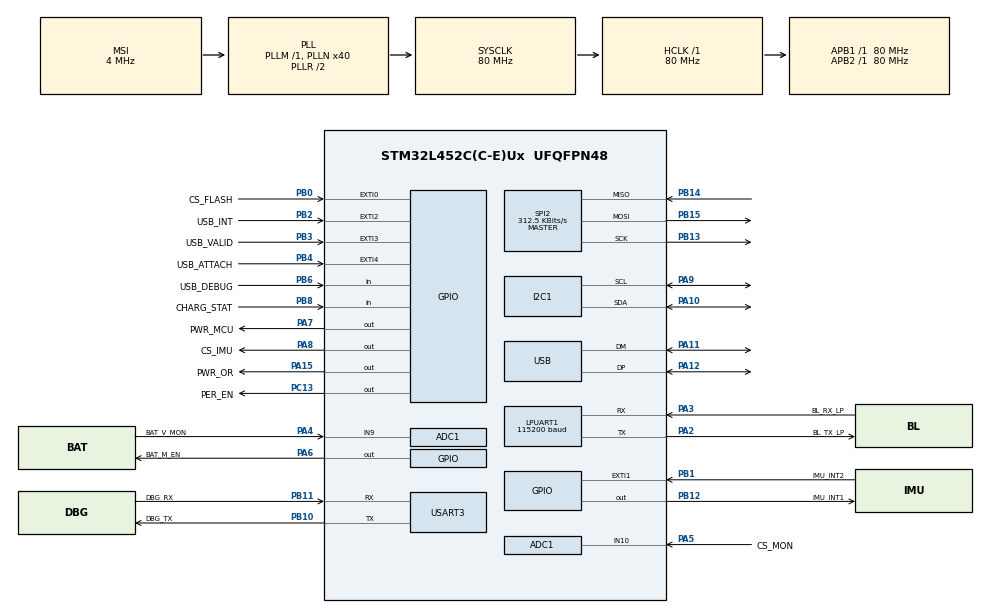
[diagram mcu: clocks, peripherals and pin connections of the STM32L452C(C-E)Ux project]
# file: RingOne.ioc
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ADC1.Channel-0\#ChannelRegularConversion=ADC_CHANNEL_10
ADC1.NbrOfConversionFlag=1
ADC1.OffsetNumber-0\#ChannelRegularConversion=ADC_OFFSET_NONE
ADC1.Rank-0\#ChannelRegularConversion=1
ADC1.SamplingTime-0\#ChannelRegularConversion=ADC_SAMPLETIME_2CYCLES_5
ADC1.master=1
I2C1.Timing=0x10909CEC
IWDG.Prescaler=IWDG_PRESCALER_256
LPUART1.BaudRate=115200
LPUART1.WordLength=UART_WORDLENGTH_8B
Mcu.Family=STM32L4
Mcu.Name=STM32L452C(C-E)Ux
Mcu.Package=UFQFPN48
NVIC.LPUART1_IRQn=true\:0\:0\:false\:false\:true\:true\:true
NVIC.PriorityGroup=NVIC_PRIORITYGROUP_4
NVIC.TIM2_IRQn=true\:0\:0\:false\:false\:true\:true\:true
NVIC.USB_IRQn=true\:0\:0\:false\:false\:true\:false\:true
PA0.GPIO_Label=PWR_BTN
PA0.Mode=SYS_WakeUp0
PA0.Signal=SYS_WKUP1
PA10.Mode=I2C
PA10.Signal=I2C1_SDA
PA11.Mode=Device
PA11.Signal=USB_DM
PA12.Mode=Device
PA12.Signal=USB_DP
PA13\ (JTMS/SWDIO).GPIO_Label=SWDIO
PA13\ (JTMS/SWDIO).Mode=Serial_Wire
PA13\ (JTMS/SWDIO).Signal=SYS_JTMS-SWDIO
PA14\ (JTCK/SWCLK).GPIO_Label=SWCLK
PA14\ (JTCK/SWCLK).Mode=Serial_Wire
PA14\ (JTCK/SWCLK).Signal=SYS_JTCK-SWCLK
PA15\ (JTDI).GPIO_Label=PWR_OR
PA15\ (JTDI).Signal=GPIO_Output
PA2.GPIO_Label=BL_TX_LP
PA2.Mode=Asynchronous
PA2.Signal=LPUART1_TX
PA3.GPIO_Label=BL_RX_LP
PA3.Mode=Asynchronous
PA3.Signal=LPUART1_RX
PA4.GPIO_Label=BAT_V_MON
PA4.Signal=ADCx_IN9
PA5.GPIO_Label=CS_MON
PA5.Signal=ADCx_IN10
PA6.GPIO_Label=BAT_M_EN
PA6.Signal=GPIO_Output
PA7.GPIO_Label=PWR_MCU
PA7.Signal=GPIO_Output
PA8.GPIO_Label=CS_IMU
PA8.Signal=GPIO_Output
PA9.Mode=I2C
PA9.Signal=I2C1_SCL
PB0.GPIO_Label=CS_FLASH
PB0.Signal=GPXTI0
PB1.GPIO_Label=IMU_INT2
PB1.Signal=GPXTI1
PB10.GPIO_Label=DBG_TX
PB10.Mode=Asynchronous
PB10.Signal=USART3_TX
PB11.GPIO_Label=DBG_RX
PB11.Mode=Asynchronous
PB11.Signal=USART3_RX
PB12.GPIO_Label=IMU_INT1
PB12.Signal=GPIO_Output
PB13.Mode=Full_Duplex_Master
PB13.Signal=SPI2_SCK
PB14.Mode=Full_Duplex_Master
PB14.Signal=SPI2_MISO
PB15.Mode=Full_Duplex_Master
PB15.Signal=SPI2_MOSI
PB2.GPIO_Label=USB_INT
PB2.Signal=GPXTI2
PB3\ (JTDO/TRACESWO).GPIO_Label=USB_VALID
PB3\ (JTDO/TRACESWO).Signal=GPXTI3
PB4\ (NJTRST).GPIO_Label=USB_ATTACH
PB4\ (NJTRST).Signal=GPXTI4
PB6.GPIO_Label=USB_DEBUG
PB6.Signal=GPIO_Input
PB8.GPIO_Label=CHARG_STAT
PB8.Signal=GPIO_Input
PC13.GPIO_Label=PER_EN
PC13.Signal=GPIO_Output
ProjectManager.HeapSize=0x200
ProjectManager.StackSize=0x400
ProjectManager.TargetToolchain=Makefile
RCC.ADCFreq_Value=48000000
RCC.AHBFreq_Value=80000000
RCC.APB1Freq_Value=80000000
RCC.APB1TimFreq_Value=80000000
RCC.APB2Freq_Value=80000000
RCC.APB2TimFreq_Value=80000000
RCC.CortexFreq_Value=80000000
RCC.HCLKFreq_Value=80000000
RCC.HSE_VALUE=8000000
RCC.HSI48_VALUE=48000000
RCC.HSI_VALUE=16000000
RCC.LSE_VALUE=32768
RCC.MSI_VALUE=4000000
RCC.PLLN=40
RCC.PLLSAI1N=24
RCC.SYSCLKFreq_VALUE=80000000
RCC.SYSCLKSource=RCC_SYSCLKSOURCE_PLLCLK
RCC.USBFreq_Value=48000000
RCC.VCOOutputFreq_Value=160000000
SH.ADCx_IN10.0=ADC1_IN10,IN10-Single-Ended
SH.ADCx_IN9.0=ADC1_IN9,IN9-Single-Ended
SPI2.BaudRatePrescaler=SPI_BAUDRATEPRESCALER_256
SPI2.CLKPhase=SPI_PHASE_1EDGE
SPI2.CLKPolarity=SPI_POLARITY_LOW
SPI2.CalculateBaudRate=312.5 KBits/s
SPI2.DataSize=SPI_DATASIZE_8BIT
SPI2.Direction=SPI_DIRECTION_2LINES
SPI2.Mode=SPI_MODE_MASTER
SPI2.VirtualType=VM_MASTER
USART3.VirtualMode-Asynchronous=VM_ASYNC
USB.low_power_enable=DISABLE
USB_DEVICE.CLASS_NAME_FS=CDC
USB_DEVICE.VirtualMode=Cdc
USB_DEVICE.VirtualModeFS=Cdc_FS
VP_ADC1_TempSens_Input.Mode=IN-TempSens
VP_ADC1_Vref_Input.Mode=IN-Vrefint
VP_IWDG_VS_IWDG.Mode=IWDG_Activate
VP_TIM2_VS_ClockSourceINT.Mode=Internal
VP_USB_DEVICE_VS_USB_DEVICE_CDC_FS.Mode=CDC_FS
board=custom

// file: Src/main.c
/* USER CODE BEGIN Header */

/**
  ******************************************************************************
  * @file           : main.c
  * @brief          : Main program body
  ******************************************************************************
  * @attention
  *
  * <h2><center>&copy; Copyright (c) 2021 STMicroelectronics.
  * All rights reserved.</center></h2>
  *
  * This software component is licensed by ST under Ultimate Liberty license
  * SLA0044, the "License"; You may not use this file except in compliance with
  * the License. You may obtain a copy of the License at:
  *                             www.st.com/SLA0044
  *
  ******************************************************************************
  */
/* USER CODE END Header */
#include "main.h"
#include "usb_device.h"

/* USER CODE BEGIN Includes */
#include "device/device.hpp"
#include "tools/tasker.hpp"
#include "apps/i2c_scanner.hpp"
#include "led/KTD2026.hpp"
#include "misc/text_transform.hpp"
/* USER CODE END Includes */

ADC_HandleTypeDef hadc1;

I2C_HandleTypeDef hi2c1;

IWDG_HandleTypeDef hiwdg;

UART_HandleTypeDef hlpuart1;
UART_HandleTypeDef huart3;

SPI_HandleTypeDef hspi2;

TIM_HandleTypeDef htim2;

void SystemClock_Config(void);
static void MX_GPIO_Init(void);
static void MX_ADC1_Init(void);
static void MX_I2C1_Init(void);
static void MX_LPUART1_UART_Init(void);
static void MX_USART3_UART_Init(void);
static void MX_SPI2_Init(void);
static void MX_TIM2_Init(void);
static void MX_IWDG_Init(void);

int main(void)
{

  /* MCU Configuration--------------------------------------------------------*/

  /* Reset of all peripherals, Initializes the Flash interface and the Systick. */
  HAL_Init();

  /* Configure the system clock */
  SystemClock_Config();

  /* Initialize all configured peripherals */
  MX_GPIO_Init();
  MX_ADC1_Init();
  MX_I2C1_Init();
  MX_LPUART1_UART_Init();
  MX_USART3_UART_Init();
  MX_SPI2_Init();
  MX_USB_DEVICE_Init();
  MX_TIM2_Init();
  MX_IWDG_Init();
  /* USER CODE BEGIN 2 */

    HAL_Delay(1);

    device()->Enable_CLI(device()->mcu->USB_port);
    device()->Enable_Filesystem();
    device()->cli->Enable_filesystem_executable(device()->fs);

    device()->mcu->I_WDG->Start(Independent_watchdog::Prescaler::_256, Independent_watchdog::Calculate_register(4000,Independent_watchdog::Prescaler::_256 ));

    Tasker::Instance(device()->mcu->TIM_2);
    Tasker::Instance()->New_event(500000, -1, device()->mcu->I_WDG, &Independent_watchdog::Reload, 0, "Watchdog");

    auto peripheral_enable = new Pin('C',13);
    peripheral_enable->Set(true);

    auto app = new I2C_scanner(device()->mcu->I2C_1);

    // LED
    auto led = new KTD2026(*(device()->mcu->I2C_1), 0b01100010);
    led->Test();

    // IMU
    uint8_t tx[2] = {0x8f, 0x00};
    uint8_t rx[2] = {0xff, 0xff};
    HAL_SPI_TransmitReceive (&hspi2, tx, rx, 2, 5000);
    device()->cli->Print("0x" + dec2hex(rx[1]));

    // Bluetooth module
    HAL_Delay(10);
    uint8_t CMD_mode[5] = "$$$";
    HAL_UART_Transmit(&hlpuart1,(uint8_t*)CMD_mode, 3, 5000);
    HAL_Delay(10);
    uint8_t echo_mode[3] = "+\r";
    HAL_UART_Transmit(&hlpuart1,(uint8_t*)echo_mode, 2, 5000);

  /* USER CODE END 2 */

  /* Infinite loop */
    while (1) {

    }
}

void SystemClock_Config(void)
{
  RCC_OscInitTypeDef RCC_OscInitStruct = {0};
  RCC_ClkInitTypeDef RCC_ClkInitStruct = {0};
  RCC_PeriphCLKInitTypeDef PeriphClkInit = {0};

  /** Initializes the RCC Oscillators according to the specified parameters
  * in the RCC_OscInitTypeDef structure.
  */
  RCC_OscInitStruct.OscillatorType = RCC_OSCILLATORTYPE_LSI|RCC_OSCILLATORTYPE_MSI;
  RCC_OscInitStruct.LSIState = RCC_LSI_ON;
  RCC_OscInitStruct.MSIState = RCC_MSI_ON;
  RCC_OscInitStruct.MSICalibrationValue = 0;
  RCC_OscInitStruct.MSIClockRange = RCC_MSIRANGE_6;
  RCC_OscInitStruct.PLL.PLLState = RCC_PLL_ON;
  RCC_OscInitStruct.PLL.PLLSource = RCC_PLLSOURCE_MSI;
  RCC_OscInitStruct.PLL.PLLM = 1;
  RCC_OscInitStruct.PLL.PLLN = 40;
  RCC_OscInitStruct.PLL.PLLP = RCC_PLLP_DIV7;
  RCC_OscInitStruct.PLL.PLLQ = RCC_PLLQ_DIV2;
  RCC_OscInitStruct.PLL.PLLR = RCC_PLLR_DIV2;
  if (HAL_RCC_OscConfig(&RCC_OscInitStruct) != HAL_OK)
  {
    Error_Handler();
  }
  /** Initializes the CPU, AHB and APB buses clocks
  */
  RCC_ClkInitStruct.ClockType = RCC_CLOCKTYPE_HCLK|RCC_CLOCKTYPE_SYSCLK
                              |RCC_CLOCKTYPE_PCLK1|RCC_CLOCKTYPE_PCLK2;
  RCC_ClkInitStruct.SYSCLKSource = RCC_SYSCLKSOURCE_PLLCLK;
  RCC_ClkInitStruct.AHBCLKDivider = RCC_SYSCLK_DIV1;
  RCC_ClkInitStruct.APB1CLKDivider = RCC_HCLK_DIV1;
  RCC_ClkInitStruct.APB2CLKDivider = RCC_HCLK_DIV1;

  if (HAL_RCC_ClockConfig(&RCC_ClkInitStruct, FLASH_LATENCY_4) != HAL_OK)
  {
    Error_Handler();
  }
  PeriphClkInit.PeriphClockSelection = RCC_PERIPHCLK_USART3|RCC_PERIPHCLK_LPUART1
                              |RCC_PERIPHCLK_I2C1|RCC_PERIPHCLK_USB
                              |RCC_PERIPHCLK_ADC;
  PeriphClkInit.Usart3ClockSelection = RCC_USART3CLKSOURCE_PCLK1;
  PeriphClkInit.Lpuart1ClockSelection = RCC_LPUART1CLKSOURCE_PCLK1;
  PeriphClkInit.I2c1ClockSelection = RCC_I2C1CLKSOURCE_PCLK1;
  PeriphClkInit.AdcClockSelection = RCC_ADCCLKSOURCE_PLLSAI1;
  PeriphClkInit.UsbClockSelection = RCC_USBCLKSOURCE_PLLSAI1;
  PeriphClkInit.PLLSAI1.PLLSAI1Source = RCC_PLLSOURCE_MSI;
  PeriphClkInit.PLLSAI1.PLLSAI1M = 1;
  PeriphClkInit.PLLSAI1.PLLSAI1N = 24;
  PeriphClkInit.PLLSAI1.PLLSAI1P = RCC_PLLP_DIV7;
  PeriphClkInit.PLLSAI1.PLLSAI1Q = RCC_PLLQ_DIV2;
  PeriphClkInit.PLLSAI1.PLLSAI1R = RCC_PLLR_DIV2;
  PeriphClkInit.PLLSAI1.PLLSAI1ClockOut = RCC_PLLSAI1_48M2CLK|RCC_PLLSAI1_ADC1CLK;
  if (HAL_RCCEx_PeriphCLKConfig(&PeriphClkInit) != HAL_OK)
  {
    Error_Handler();
  }
  /** Configure the main internal regulator output voltage
  */
  if (HAL_PWREx_ControlVoltageScaling(PWR_REGULATOR_VOLTAGE_SCALE1) != HAL_OK)
  {
    Error_Handler();
  }
}

static void MX_ADC1_Init(void)
{

  ADC_ChannelConfTypeDef sConfig = {0};

  /** Common config
  */
  hadc1.Instance = ADC1;
  hadc1.Init.ClockPrescaler = ADC_CLOCK_ASYNC_DIV1;
  hadc1.Init.Resolution = ADC_RESOLUTION_12B;
  hadc1.Init.DataAlign = ADC_DATAALIGN_RIGHT;
  hadc1.Init.ScanConvMode = ADC_SCAN_DISABLE;
  hadc1.Init.EOCSelection = ADC_EOC_SINGLE_CONV;
  hadc1.Init.LowPowerAutoWait = DISABLE;
  hadc1.Init.ContinuousConvMode = DISABLE;
  hadc1.Init.NbrOfConversion = 1;
  hadc1.Init.DiscontinuousConvMode = DISABLE;
  hadc1.Init.ExternalTrigConv = ADC_SOFTWARE_START;
  hadc1.Init.ExternalTrigConvEdge = ADC_EXTERNALTRIGCONVEDGE_NONE;
  hadc1.Init.DMAContinuousRequests = DISABLE;
  hadc1.Init.Overrun = ADC_OVR_DATA_PRESERVED;
  hadc1.Init.OversamplingMode = DISABLE;
  if (HAL_ADC_Init(&hadc1) != HAL_OK)
  {
    Error_Handler();
  }
  /** Configure Regular Channel
  */
  sConfig.Channel = ADC_CHANNEL_10;
  sConfig.Rank = ADC_REGULAR_RANK_1;
  sConfig.SamplingTime = ADC_SAMPLETIME_2CYCLES_5;
  sConfig.SingleDiff = ADC_SINGLE_ENDED;
  sConfig.OffsetNumber = ADC_OFFSET_NONE;
  sConfig.Offset = 0;
  if (HAL_ADC_ConfigChannel(&hadc1, &sConfig) != HAL_OK)
  {
    Error_Handler();
  }

}

static void MX_I2C1_Init(void)
{

  hi2c1.Instance = I2C1;
  hi2c1.Init.Timing = 0x10909CEC;
  hi2c1.Init.OwnAddress1 = 0;
  hi2c1.Init.AddressingMode = I2C_ADDRESSINGMODE_7BIT;
  hi2c1.Init.DualAddressMode = I2C_DUALADDRESS_DISABLE;
  hi2c1.Init.OwnAddress2 = 0;
  hi2c1.Init.OwnAddress2Masks = I2C_OA2_NOMASK;
  hi2c1.Init.GeneralCallMode = I2C_GENERALCALL_DISABLE;
  hi2c1.Init.NoStretchMode = I2C_NOSTRETCH_DISABLE;
  if (HAL_I2C_Init(&hi2c1) != HAL_OK)
  {
    Error_Handler();
  }
  /** Configure Analogue filter
  */
  if (HAL_I2CEx_ConfigAnalogFilter(&hi2c1, I2C_ANALOGFILTER_ENABLE) != HAL_OK)
  {
    Error_Handler();
  }
  /** Configure Digital filter
  */
  if (HAL_I2CEx_ConfigDigitalFilter(&hi2c1, 0) != HAL_OK)
  {
    Error_Handler();
  }

}

static void MX_IWDG_Init(void)
{

  hiwdg.Instance = IWDG;
  hiwdg.Init.Prescaler = IWDG_PRESCALER_256;
  hiwdg.Init.Window = 4095;
  hiwdg.Init.Reload = 4095;
  if (HAL_IWDG_Init(&hiwdg) != HAL_OK)
  {
    Error_Handler();
  }

}

static void MX_LPUART1_UART_Init(void)
{

  hlpuart1.Instance = LPUART1;
  hlpuart1.Init.BaudRate = 115200;
  hlpuart1.Init.WordLength = UART_WORDLENGTH_8B;
  hlpuart1.Init.StopBits = UART_STOPBITS_1;
  hlpuart1.Init.Parity = UART_PARITY_NONE;
  hlpuart1.Init.Mode = UART_MODE_TX_RX;
  hlpuart1.Init.HwFlowCtl = UART_HWCONTROL_NONE;
  hlpuart1.Init.OneBitSampling = UART_ONE_BIT_SAMPLE_DISABLE;
  hlpuart1.AdvancedInit.AdvFeatureInit = UART_ADVFEATURE_NO_INIT;
  if (HAL_UART_Init(&hlpuart1) != HAL_OK)
  {
    Error_Handler();
  }

}

static void MX_USART3_UART_Init(void)
{

  huart3.Instance = USART3;
  huart3.Init.BaudRate = 115200;
  huart3.Init.WordLength = UART_WORDLENGTH_8B;
  huart3.Init.StopBits = UART_STOPBITS_1;
  huart3.Init.Parity = UART_PARITY_NONE;
  huart3.Init.Mode = UART_MODE_TX_RX;
  huart3.Init.HwFlowCtl = UART_HWCONTROL_NONE;
  huart3.Init.OverSampling = UART_OVERSAMPLING_16;
  huart3.Init.OneBitSampling = UART_ONE_BIT_SAMPLE_DISABLE;
  huart3.AdvancedInit.AdvFeatureInit = UART_ADVFEATURE_NO_INIT;
  if (HAL_UART_Init(&huart3) != HAL_OK)
  {
    Error_Handler();
  }

}

static void MX_SPI2_Init(void)
{

  /* SPI2 parameter configuration*/
  hspi2.Instance = SPI2;
  hspi2.Init.Mode = SPI_MODE_MASTER;
  hspi2.Init.Direction = SPI_DIRECTION_2LINES;
  hspi2.Init.DataSize = SPI_DATASIZE_8BIT;
  hspi2.Init.CLKPolarity = SPI_POLARITY_LOW;
  hspi2.Init.CLKPhase = SPI_PHASE_1EDGE;
  hspi2.Init.NSS = SPI_NSS_SOFT;
  hspi2.Init.BaudRatePrescaler = SPI_BAUDRATEPRESCALER_256;
  hspi2.Init.FirstBit = SPI_FIRSTBIT_MSB;
  hspi2.Init.TIMode = SPI_TIMODE_DISABLE;
  hspi2.Init.CRCCalculation = SPI_CRCCALCULATION_DISABLE;
  hspi2.Init.CRCPolynomial = 7;
  hspi2.Init.CRCLength = SPI_CRC_LENGTH_DATASIZE;
  hspi2.Init.NSSPMode = SPI_NSS_PULSE_ENABLE;
  if (HAL_SPI_Init(&hspi2) != HAL_OK)
  {
    Error_Handler();
  }

}

static void MX_TIM2_Init(void)
{

  TIM_ClockConfigTypeDef sClockSourceConfig = {0};
  TIM_MasterConfigTypeDef sMasterConfig = {0};

  htim2.Instance = TIM2;
  htim2.Init.Prescaler = 0;
  htim2.Init.CounterMode = TIM_COUNTERMODE_UP;
  htim2.Init.Period = 4294967295;
  htim2.Init.ClockDivision = TIM_CLOCKDIVISION_DIV1;
  htim2.Init.AutoReloadPreload = TIM_AUTORELOAD_PRELOAD_DISABLE;
  if (HAL_TIM_Base_Init(&htim2) != HAL_OK)
  {
    Error_Handler();
  }
  sClockSourceConfig.ClockSource = TIM_CLOCKSOURCE_INTERNAL;
  if (HAL_TIM_ConfigClockSource(&htim2, &sClockSourceConfig) != HAL_OK)
  {
    Error_Handler();
  }
  sMasterConfig.MasterOutputTrigger = TIM_TRGO_RESET;
  sMasterConfig.MasterSlaveMode = TIM_MASTERSLAVEMODE_DISABLE;
  if (HAL_TIMEx_MasterConfigSynchronization(&htim2, &sMasterConfig) != HAL_OK)
  {
    Error_Handler();
  }

}

static void MX_GPIO_Init(void)
{
  GPIO_InitTypeDef GPIO_InitStruct = {0};

  /* GPIO Ports Clock Enable */
  __HAL_RCC_GPIOC_CLK_ENABLE();
  __HAL_RCC_GPIOA_CLK_ENABLE();
  __HAL_RCC_GPIOB_CLK_ENABLE();

  /*Configure GPIO pin Output Level */
  HAL_GPIO_WritePin(PER_EN_GPIO_Port, PER_EN_Pin, GPIO_PIN_RESET);

  /*Configure GPIO pin Output Level */
  HAL_GPIO_WritePin(GPIOA, BAT_M_EN_Pin|PWR_MCU_Pin|CS_IMU_Pin|PWR_OR_Pin, GPIO_PIN_RESET);

  /*Configure GPIO pin Output Level */
  HAL_GPIO_WritePin(IMU_INT1_GPIO_Port, IMU_INT1_Pin, GPIO_PIN_RESET);

  /*Configure GPIO pin : PER_EN_Pin */
  GPIO_InitStruct.Pin = PER_EN_Pin;
  GPIO_InitStruct.Mode = GPIO_MODE_OUTPUT_PP;
  GPIO_InitStruct.Pull = GPIO_NOPULL;
  GPIO_InitStruct.Speed = GPIO_SPEED_FREQ_LOW;
  HAL_GPIO_Init(PER_EN_GPIO_Port, &GPIO_InitStruct);

  /*Configure GPIO pins : BAT_M_EN_Pin PWR_MCU_Pin CS_IMU_Pin PWR_OR_Pin */
  GPIO_InitStruct.Pin = BAT_M_EN_Pin|PWR_MCU_Pin|CS_IMU_Pin|PWR_OR_Pin;
  GPIO_InitStruct.Mode = GPIO_MODE_OUTPUT_PP;
  GPIO_InitStruct.Pull = GPIO_NOPULL;
  GPIO_InitStruct.Speed = GPIO_SPEED_FREQ_LOW;
  HAL_GPIO_Init(GPIOA, &GPIO_InitStruct);

  /*Configure GPIO pins : CS_FLASH_Pin IMU_INT2_Pin USB_INT_Pin USB_VALID_Pin
                           USB_ATTACH_Pin */
  GPIO_InitStruct.Pin = CS_FLASH_Pin|IMU_INT2_Pin|USB_INT_Pin|USB_VALID_Pin
                          |USB_ATTACH_Pin;
  GPIO_InitStruct.Mode = GPIO_MODE_IT_RISING;
  GPIO_InitStruct.Pull = GPIO_NOPULL;
  HAL_GPIO_Init(GPIOB, &GPIO_InitStruct);

  /*Configure GPIO pin : IMU_INT1_Pin */
  GPIO_InitStruct.Pin = IMU_INT1_Pin;
  GPIO_InitStruct.Mode = GPIO_MODE_OUTPUT_PP;
  GPIO_InitStruct.Pull = GPIO_NOPULL;
  GPIO_InitStruct.Speed = GPIO_SPEED_FREQ_LOW;
  HAL_GPIO_Init(IMU_INT1_GPIO_Port, &GPIO_InitStruct);

  /*Configure GPIO pins : USB_DEBUG_Pin CHARG_STAT_Pin */
  GPIO_InitStruct.Pin = USB_DEBUG_Pin|CHARG_STAT_Pin;
  GPIO_InitStruct.Mode = GPIO_MODE_INPUT;
  GPIO_InitStruct.Pull = GPIO_NOPULL;
  HAL_GPIO_Init(GPIOB, &GPIO_InitStruct);

}

void Error_Handler(void)
{
    __disable_irq();
    while (1) { }
}

/************************ (C) COPYRIGHT STMicroelectronics *****END OF FILE****/
